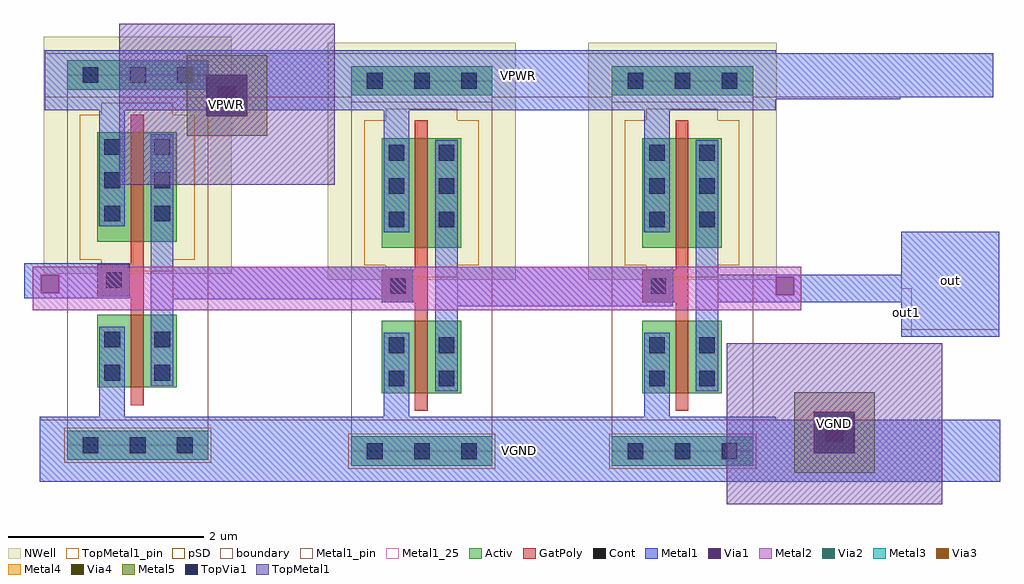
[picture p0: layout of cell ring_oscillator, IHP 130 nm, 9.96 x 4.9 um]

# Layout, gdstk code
import gdstk
lib = gdstk.Library(unit=1e-6, precision=1e-09)
def R(c, l, rs):  # rectangles x0, y0, x1, y1
    for r in rs: c.add(gdstk.rectangle(r[:2], r[2:], *l))
def A(c, l, x, y, w, h, nx, ny, dx, dy):  # array of equal rectangles
    R(c, l, [(x+i*dx, y+j*dy, x+i*dx+w, y+j*dy+h) for i in range(nx) for j in range(ny)])
Activ = (1, 0)
GatPoly = (5, 0)
Cont = (6, 0)
Metal1 = (8, 0)
Metal1_pin = (8, 2)
Metal1_25 = (8, 25)
Metal2 = (10, 0)
pSD = (14, 0)
Via1 = (19, 0)
Via2 = (29, 0)
Metal3 = (30, 0)
NWell = (31, 0)
Via3 = (49, 0)
Metal4 = (50, 0)
Via4 = (66, 0)
Metal5 = (67, 0)
TopVia1 = (125, 0)
TopMetal1 = (126, 0)
TopMetal1_pin = (126, 2)
boundary = (189, 4)

sg13g2_inv_1 = lib.new_cell('sg13g2_inv_1')
R(sg13g2_inv_1, Activ, [(0,-0.15,1.44,0.15), (0.31,0.59,1.12,1.33), (0.31,2.075,1.12,3.195), (0,3.63,1.44,3.93)])
R(sg13g2_inv_1, GatPoly, [(0.65,0.41,0.78,1.52), (0.31,1.52,0.78,1.85), (0.65,1.85,0.78,3.375)])
A(sg13g2_inv_1, Cont, 0.16, -0.08, 0.16, 0.16, 3, 2, 0.48, 3.78)
A(sg13g2_inv_1, Cont, 0.38, 2.285, 0.16, 0.16, 1, 3, 0, 0.34)
A(sg13g2_inv_1, Cont, 0.89, 2.285, 0.16, 0.16, 1, 3, 0, 0.34)
R(sg13g2_inv_1, Cont, [(0.38,0.66,0.54,0.82), (0.89,0.66,1.05,0.82), (0.38,1,0.54,1.16), (0.89,1,1.05,1.16), (0.395,1.605,0.555,1.765)])
R(sg13g2_inv_1, Metal1, [(0,-0.22,1.44,0.22), (0.33,0.22,0.59,1.21), (0.855,0.61,1.085,3.175), (0.31,1.52,0.625,1.85), (0.33,2.235,0.59,3.56), (0,3.56,1.44,4)])
R(sg13g2_inv_1, Metal1_pin, [(0,-0.22,1.44,0.22), (0.855,0.61,1.085,3.175), (0.31,1.52,0.625,1.85), (0,3.56,1.44,4)])
R(sg13g2_inv_1, pSD, [(-0.03,-0.18,1.47,0.18), (0.35,1.775,1.08,1.895), (0.13,1.895,1.3,3.375), (0.35,3.375,1.08,3.495)])
R(sg13g2_inv_1, NWell, [(-0.24,1.75,1.68,4.17)])
R(sg13g2_inv_1, boundary, [(0,0,1.44,3.78)])
sg13g2_inv_1.add(gdstk.Label('Y', (0.97,1.892), layer=8, texttype=25))
sg13g2_inv_1.add(gdstk.Label('A', (0.467,1.685), layer=8, texttype=25))
sg13g2_inv_1.add(gdstk.Label('VSS', (0.72,0), layer=8, texttype=25))
sg13g2_inv_1.add(gdstk.Label('VDD', (0.72,3.78), layer=8, texttype=25))

ring_oscillator = lib.new_cell('ring_oscillator')
R(ring_oscillator, Activ, [(5.11,0.97,5.18,1.1)])
R(ring_oscillator, Metal1, [(-1.74,-0.07,8.06,0.56), (-1.74,0.56,5.77,0.59), (7.05,1.41,8.05,1.76), (2.33,1.72,4.72,2.12), (4.98,1.76,8.05,2.04), (-0.6,1.79,2.05,2.12), (-1.9,1.8,-0.82,2.16), (7.05,2.04,8.05,2.48), (-1.69,3.72,5.77,3.83), (-1.69,3.83,7.04,3.85), (-1.69,3.85,7.99,4.3), (-1.69,4.3,5.77,4.33)])
R(ring_oscillator, Metal1_pin, [(-1.74,-0.07,8.06,0.56), (7.05,1.48,8.05,2.48), (-1.69,3.85,7.99,4.3)])
R(ring_oscillator, Metal1_25, [(7.05,1.41,7.16,1.9)])
R(ring_oscillator, Metal2, [(6.17,0.23,6.57,0.63), (-1.81,1.68,6.03,2.12), (-0.03,3.67,0.37,4.07)])
R(ring_oscillator, Via1, [(6.275,0.335,6.465,0.525), (5.77,1.83,5.96,2.02), (-1.73,1.85,-1.54,2.04), (0.075,3.775,0.265,3.965)])
R(ring_oscillator, Via2, [(6.275,0.335,6.465,0.525), (0.075,3.775,0.265,3.965)])
R(ring_oscillator, Metal3, [(6.17,0.23,6.57,0.63), (-0.03,3.67,0.37,4.07)])
R(ring_oscillator, NWell, [(2.22,2.4,2.26,2.88)])
R(ring_oscillator, Via3, [(6.275,0.335,6.465,0.525), (0.075,3.775,0.265,3.965)])
R(ring_oscillator, Metal4, [(6.17,0.23,6.57,0.63), (-0.03,3.67,0.37,4.07)])
R(ring_oscillator, Via4, [(6.275,0.335,6.465,0.525), (0.075,3.775,0.265,3.965)])
R(ring_oscillator, Metal5, [(5.96,0.02,6.78,0.84), (-0.24,3.46,0.58,4.28)])
R(ring_oscillator, TopVia1, [(6.16,0.22,6.58,0.64), (-0.04,3.66,0.38,4.08)])
R(ring_oscillator, TopMetal1, [(5.27,-0.3,7.47,1.34), (-0.93,2.96,1.27,4.6)])
R(ring_oscillator, TopMetal1_pin, [(5.27,-0.3,7.47,1.34), (-0.93,2.96,1.27,4.6)])
ring_oscillator.add(gdstk.Reference(sg13g2_inv_1, (-1.46,0.3)))
ring_oscillator.add(gdstk.Reference(sg13g2_inv_1, (4.1,0.24)))
ring_oscillator.add(gdstk.Reference(sg13g2_inv_1, (1.44,0.24)))
ring_oscillator.add(gdstk.Label('out1', (7.105,1.655), layer=8, texttype=25))
ring_oscillator.add(gdstk.Label('out', (7.55,1.98), layer=8, texttype=25))
ring_oscillator.add(gdstk.Label('VPWR', (0.17,3.78), layer=126, texttype=25))
ring_oscillator.add(gdstk.Label('VPWR', (3.15,4.075), layer=8, texttype=25))
ring_oscillator.add(gdstk.Label('VGND', (6.37,0.52), layer=126, texttype=25))
ring_oscillator.add(gdstk.Label('VGND', (3.16,0.245), layer=8, texttype=25))

lib.write_gds('ring_oscillator.gds')
